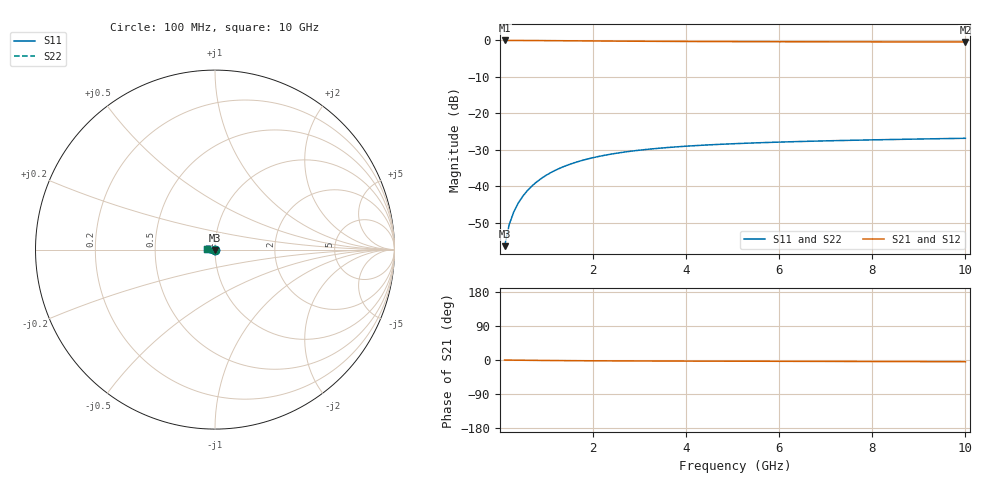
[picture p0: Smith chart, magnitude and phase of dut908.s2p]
! Touchstone file exported from HFSS 2024.1.0
!  File:  C:/UserFiles/LocalFiles/RDL_TSV_Batchsim/temp_TSV1_908_1779944977.aedt
!  Generated:  01:19:03 PM May 28, 2026
!  Design:  TSV1
!  Project:  temp_TSV1_908_1779944977
!  Setup:  Setup1
!  Solution:  Sweep
! Variables:
!  dtsv = 12.68um
!  hbump = 3um
!  htsv = 68.27um
!  lrdl = 252.1521522um
!  p = 40
!  p1 = 59.72um
!  t = 500um
!  trdl = 3um
!  wrdl = 24.89489489um
# GHz S MA R 50.000000
! Terminal data exported
! Port[1] = TSV22_T1
! Port[2] = TSV22_T2
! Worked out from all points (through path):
!   100 points, 100 MHz to 10 GHz, reference 50 ohm
!   highest |S21| = 0.00 dB at 100 MHz (marker M1); lowest = -0.4 dB at 10 GHz (marker M2)
!   lowest |S11| = -56.5 dB at 100 MHz (marker M3), VSWR 1.00, Z = 50 - j0.15 ohm
!   |S11| at or under -10 dB: start of sweep to end of sweep
!   |S22| runs from -56.5 to -26.9 dB; largest |S21 - S12| = 7.4e-15
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0.1  0.001496 -89.2  0.9999 -0.1  0.9999 -0.1  0.001496 -89.2
! Gamma 0 0 0 0
! Port Impedance 50 0 50 0
0.2  0.002987 -92.8  0.9997 -0.3  0.9997 -0.3  0.002987 -92.8
0.3  0.004472 -95.5  0.9994 -0.4  0.9994 -0.4  0.004472 -95.5
0.4  0.005943 -98.0  0.9989 -0.5  0.9989 -0.5  0.005943 -98.0
0.5  0.007394 -100.4  0.9984 -0.7  0.9984 -0.7  0.007394 -100.4
0.6  0.008818 -102.7  0.9978 -0.8  0.9978 -0.8  0.008818 -102.7
0.7  0.01021 -104.9  0.9971 -0.9  0.9971 -0.9  0.01021 -104.9
0.8  0.01157 -107.1  0.9963 -1.0  0.9963 -1.0  0.01157 -107.1
0.9  0.01289 -109.2  0.9955 -1.1  0.9955 -1.1  0.01289 -109.2
1.1  0.01541 -113.3  0.9937 -1.3  0.9937 -1.3  0.01541 -113.3
1.4  0.01886 -119.1  0.9906 -1.6  0.9906 -1.6  0.01886 -119.1
1.6  0.02093 -122.7  0.9885 -1.8  0.9885 -1.8  0.02093 -122.7
1.8  0.02283 -126.1  0.9864 -1.9  0.9864 -1.9  0.02283 -126.1
2.1  0.02537 -130.9  0.9833 -2.1  0.9833 -2.1  0.02537 -130.9
2.5  0.02823 -136.5  0.9794 -2.3  0.9794 -2.3  0.02823 -136.5
2.9  0.0306 -141.6  0.9759 -2.5  0.9759 -2.5  0.0306 -141.6
3.4  0.03302 -147.1  0.9721 -2.7  0.9721 -2.7  0.03302 -147.1
4.2  0.03595 -154.6  0.9673 -2.9  0.9673 -2.9  0.03595 -154.6
5.1  0.03836 -161.5  0.9632 -3.2  0.9632 -3.2  0.03836 -161.5
6.7  0.04134 -171.3  0.9584 -3.6  0.9584 -3.6  0.04134 -171.3
8.4  0.0436 -179.5  0.9552 -4.1  0.9552 -4.1  0.0436 -179.5
10  0.04535 174.0  0.9532 -4.6  0.9532 -4.6  0.04535 174.0
